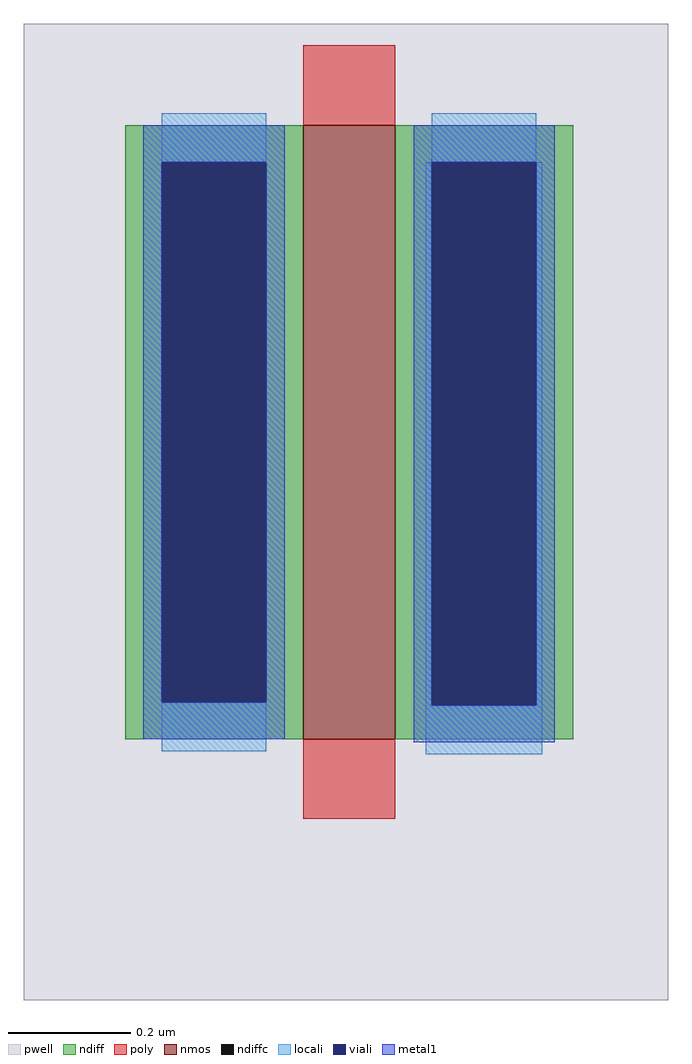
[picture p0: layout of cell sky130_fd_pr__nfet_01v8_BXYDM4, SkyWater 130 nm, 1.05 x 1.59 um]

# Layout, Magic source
magic
tech sky130A
magscale 1 2
<< pwell >>
rect -106 -216 104 102
<< nmos >>
rect -15 -131 15 69
<< ndiff >>
rect -73 57 -15 69
rect -73 -119 -61 57
rect -27 -119 -15 57
rect -73 -131 -15 -119
rect 15 57 73 69
rect 15 -120 27 57
rect 61 -120 73 57
rect 15 -131 73 -120
<< ndiffc >>
rect -61 -119 -27 57
rect 27 -120 61 57
<< poly >>
rect -15 69 15 95
rect -15 -157 15 -131
<< locali >>
rect -61 57 -27 73
rect 27 57 61 73
rect -61 -135 -27 -119
rect 25 -120 27 57
rect 61 -120 63 57
rect 25 -136 63 -120
<< viali >>
rect -61 -119 -27 57
rect 27 -120 61 57
<< metal1 >>
rect -67 57 -21 69
rect -67 -119 -61 57
rect -27 -119 -21 57
rect -67 -131 -21 -119
rect 21 57 67 69
rect 21 -120 27 57
rect 61 -120 67 57
rect 21 -132 67 -120
<< properties >>
string FIXED_BBOX -158 -226 158 226
string gencell sky130_fd_pr__nfet_01v8
string library sky130
string parameters w 1.0 l 0.15 m 1 nf 1 diffcov 100 polycov 100 guard 1 glc 0 grc 0 gtc 0 gbc 1 tbcov 100 rlcov 100 topc 1 botc 0 poverlap 0 doverlap 1 lmin 0.15 wmin 0.42 compatible {sky130_fd_pr__nfet_01v8 sky130_fd_pr__nfet_01v8_lvt  sky130_fd_bs_flash__special_sonosfet_star  sky130_fd_pr__nfet_g5v0d10v5 sky130_fd_pr__nfet_05v0_nvt  sky130_fd_pr__nfet_03v3_nvt} full_metal 0 viasrc 100 viadrn 100 viagate 100 viagb 0 viagr 0 viagl 0 viagt 0
<< end >>
